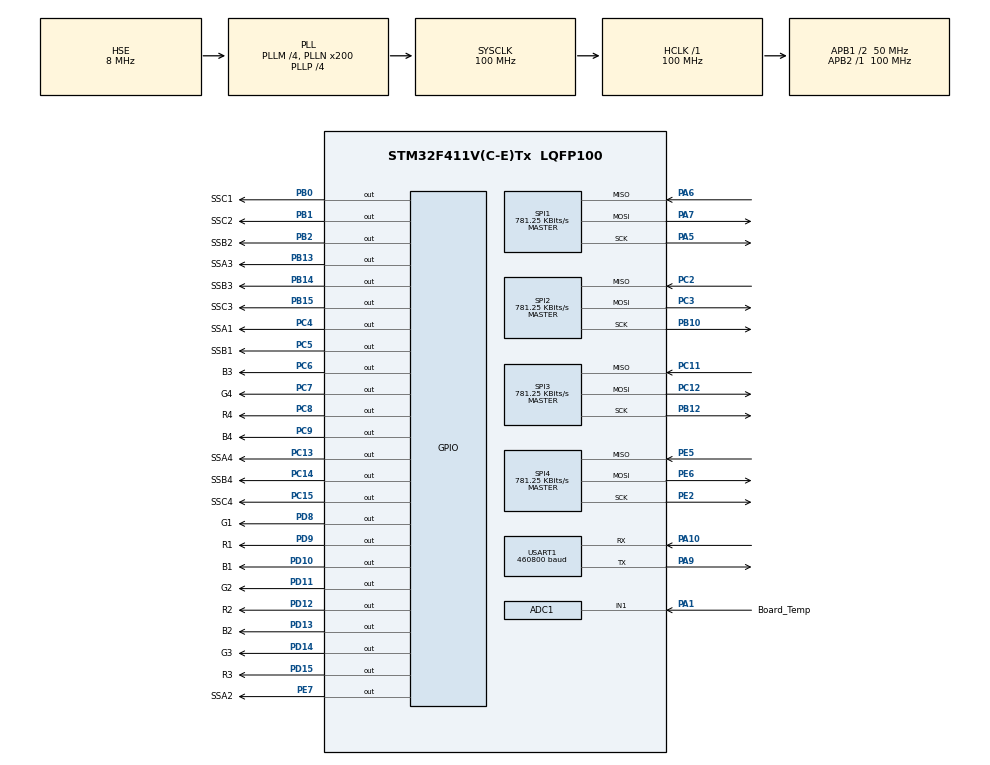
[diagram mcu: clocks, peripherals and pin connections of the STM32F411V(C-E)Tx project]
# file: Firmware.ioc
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ADC1.Channel-0\#ChannelRegularConversion=ADC_CHANNEL_1
ADC1.NbrOfConversionFlag=1
ADC1.Rank-0\#ChannelRegularConversion=1
ADC1.SamplingTime-0\#ChannelRegularConversion=ADC_SAMPLETIME_3CYCLES
ADC1.master=1
FREERTOS.Tasks01=MNMT_task,24,4096,management_task,As external,NULL,Static,MNMT_taskBuffer,MNMT_taskControlBlock;SI_task,8,512,serialInterface_task,As external,NULL,Static,SI_taskBuffer,SI_taskControlBlock;S1_task,40,2048,slot1_task,As external,NULL,Static,S1_taskBuffer,S1_taskControlBlock;S2_task,40,2048,slot2_task,As external,NULL,Static,S2_taskBuffer,S2_taskControlBlock;S3_task,40,2048,slot3_task,As external,NULL,Static,S3_taskBuffer,S3_taskControlBlock;S4_task,40,2048,slot4_task,As external,NULL,Static,S4_taskBuffer,S4_taskControlBlock
FREERTOS.configCHECK_FOR_STACK_OVERFLOW=2
FREERTOS.configENABLE_FPU=1
FREERTOS.configGENERATE_RUN_TIME_STATS=0
FREERTOS.configUSE_IDLE_HOOK=0
FREERTOS.configUSE_STATS_FORMATTING_FUNCTIONS=0
FREERTOS.configUSE_TICK_HOOK=1
FREERTOS.configUSE_TRACE_FACILITY=0
Mcu.Family=STM32F4
Mcu.Name=STM32F411V(C-E)Tx
Mcu.Package=LQFP100
NVIC.PriorityGroup=NVIC_PRIORITYGROUP_4
NVIC.TIM1_UP_TIM10_IRQn=true\:0\:0\:false\:false\:true\:false\:false\:true
NVIC.TimeBase=TIM1_UP_TIM10_IRQn
NVIC.TimeBaseIP=TIM1
NVIC.USART1_IRQn=true\:5\:0\:false\:false\:true\:true\:true\:true
PA1.GPIO_Label=Board_Temp
PA1.Signal=ADCx_IN1
PA10.Mode=Asynchronous
PA10.Signal=USART1_RX
PA13.Mode=Serial_Wire
PA13.Signal=SYS_JTMS-SWDIO
PA14.Mode=Serial_Wire
PA14.Signal=SYS_JTCK-SWCLK
PA5.Mode=Full_Duplex_Master
PA5.Signal=SPI1_SCK
PA6.Mode=Full_Duplex_Master
PA6.Signal=SPI1_MISO
PA7.Mode=Full_Duplex_Master
PA7.Signal=SPI1_MOSI
PA9.Mode=Asynchronous
PA9.Signal=USART1_TX
PB0.GPIO_Label=SSC1
PB0.GPIO_PuPd=GPIO_PULLUP
PB0.PinState=GPIO_PIN_SET
PB0.Signal=GPIO_Output
PB1.GPIO_Label=SSC2
PB1.GPIO_ModeDefaultOutputPP=GPIO_MODE_OUTPUT_PP
PB1.GPIO_PuPd=GPIO_PULLUP
PB1.PinState=GPIO_PIN_SET
PB1.Signal=GPIO_Output
PB10.Mode=Full_Duplex_Master
PB10.Signal=SPI2_SCK
PB12.Mode=Full_Duplex_Master
PB12.Signal=SPI3_SCK
PB13.GPIO_Label=SSA3
PB13.GPIO_ModeDefaultOutputPP=GPIO_MODE_OUTPUT_PP
PB13.GPIO_PuPd=GPIO_PULLUP
PB13.PinState=GPIO_PIN_SET
PB13.Signal=GPIO_Output
PB14.GPIO_Label=SSB3
PB14.GPIO_ModeDefaultOutputPP=GPIO_MODE_OUTPUT_PP
PB14.GPIO_PuPd=GPIO_PULLUP
PB14.PinState=GPIO_PIN_SET
PB14.Signal=GPIO_Output
PB15.GPIO_Label=SSC3
PB15.GPIO_ModeDefaultOutputPP=GPIO_MODE_OUTPUT_PP
PB15.GPIO_PuPd=GPIO_PULLUP
PB15.PinState=GPIO_PIN_SET
PB15.Signal=GPIO_Output
PB2.GPIO_Label=SSB2
PB2.GPIO_ModeDefaultOutputPP=GPIO_MODE_OUTPUT_PP
PB2.GPIO_PuPd=GPIO_PULLUP
PB2.PinState=GPIO_PIN_SET
PB2.Signal=GPIO_Output
PC11.Mode=Full_Duplex_Master
PC11.Signal=SPI3_MISO
PC12.Mode=Full_Duplex_Master
PC12.Signal=SPI3_MOSI
PC13-ANTI_TAMP.GPIO_Label=SSA4
PC13-ANTI_TAMP.GPIO_ModeDefaultOutputPP=GPIO_MODE_OUTPUT_PP
PC13-ANTI_TAMP.GPIO_PuPd=GPIO_PULLUP
PC13-ANTI_TAMP.PinState=GPIO_PIN_SET
PC13-ANTI_TAMP.Signal=GPIO_Output
PC14-OSC32_IN.GPIO_Label=SSB4
PC14-OSC32_IN.GPIO_ModeDefaultOutputPP=GPIO_MODE_OUTPUT_PP
PC14-OSC32_IN.GPIO_PuPd=GPIO_PULLUP
PC14-OSC32_IN.PinState=GPIO_PIN_SET
PC14-OSC32_IN.Signal=GPIO_Output
PC15-OSC32_OUT.GPIO_Label=SSC4
PC15-OSC32_OUT.GPIO_ModeDefaultOutputPP=GPIO_MODE_OUTPUT_PP
PC15-OSC32_OUT.GPIO_PuPd=GPIO_PULLUP
PC15-OSC32_OUT.PinState=GPIO_PIN_SET
PC15-OSC32_OUT.Signal=GPIO_Output
PC2.Mode=Full_Duplex_Master
PC2.Signal=SPI2_MISO
PC3.Mode=Full_Duplex_Master
PC3.Signal=SPI2_MOSI
PC4.GPIO_Label=SSA1
PC4.GPIO_ModeDefaultOutputPP=GPIO_MODE_OUTPUT_PP
PC4.GPIO_PuPd=GPIO_PULLUP
PC4.PinState=GPIO_PIN_SET
PC4.Signal=GPIO_Output
PC5.GPIO_Label=SSB1
PC5.GPIO_ModeDefaultOutputPP=GPIO_MODE_OUTPUT_PP
PC5.GPIO_PuPd=GPIO_PULLUP
PC5.PinState=GPIO_PIN_SET
PC5.Signal=GPIO_Output
PC6.GPIO_Label=B3
PC6.GPIO_ModeDefaultOutputPP=GPIO_MODE_OUTPUT_OD
PC6.PinState=GPIO_PIN_SET
PC6.Signal=GPIO_Output
PC7.GPIO_Label=G4
PC7.GPIO_ModeDefaultOutputPP=GPIO_MODE_OUTPUT_OD
PC7.PinState=GPIO_PIN_SET
PC7.Signal=GPIO_Output
PC8.GPIO_Label=R4
PC8.GPIO_ModeDefaultOutputPP=GPIO_MODE_OUTPUT_OD
PC8.PinState=GPIO_PIN_RESET
PC8.Signal=GPIO_Output
PC9.GPIO_Label=B4
PC9.GPIO_ModeDefaultOutputPP=GPIO_MODE_OUTPUT_OD
PC9.PinState=GPIO_PIN_SET
PC9.Signal=GPIO_Output
PD10.GPIO_Label=B1
PD10.GPIO_ModeDefaultOutputPP=GPIO_MODE_OUTPUT_OD
PD10.PinState=GPIO_PIN_SET
PD10.Signal=GPIO_Output
PD11.GPIO_Label=G2
PD11.GPIO_ModeDefaultOutputPP=GPIO_MODE_OUTPUT_OD
PD11.PinState=GPIO_PIN_SET
PD11.Signal=GPIO_Output
PD12.GPIO_Label=R2
PD12.GPIO_ModeDefaultOutputPP=GPIO_MODE_OUTPUT_OD
PD12.PinState=GPIO_PIN_RESET
PD12.Signal=GPIO_Output
PD13.GPIO_Label=B2
PD13.GPIO_ModeDefaultOutputPP=GPIO_MODE_OUTPUT_OD
PD13.PinState=GPIO_PIN_SET
PD13.Signal=GPIO_Output
PD14.GPIO_Label=G3
PD14.GPIO_ModeDefaultOutputPP=GPIO_MODE_OUTPUT_OD
PD14.PinState=GPIO_PIN_SET
PD14.Signal=GPIO_Output
PD15.GPIO_Label=R3
PD15.GPIO_ModeDefaultOutputPP=GPIO_MODE_OUTPUT_OD
PD15.PinState=GPIO_PIN_RESET
PD15.Signal=GPIO_Output
PD8.GPIO_Label=G1
PD8.GPIO_ModeDefaultOutputPP=GPIO_MODE_OUTPUT_OD
PD8.PinState=GPIO_PIN_SET
PD8.Signal=GPIO_Output
PD9.GPIO_Label=R1
PD9.GPIO_ModeDefaultOutputPP=GPIO_MODE_OUTPUT_OD
PD9.PinState=GPIO_PIN_RESET
PD9.Signal=GPIO_Output
PE2.Mode=Full_Duplex_Master
PE2.Signal=SPI4_SCK
PE5.Mode=Full_Duplex_Master
PE5.Signal=SPI4_MISO
PE6.Mode=Full_Duplex_Master
PE6.Signal=SPI4_MOSI
PE7.GPIO_Label=SSA2
PE7.GPIO_ModeDefaultOutputPP=GPIO_MODE_OUTPUT_PP
PE7.GPIO_PuPd=GPIO_PULLUP
PE7.GPIO_Speed=GPIO_SPEED_FREQ_LOW
PE7.PinState=GPIO_PIN_SET
PE7.Signal=GPIO_Output
PH0\ -\ OSC_IN.Mode=HSE-External-Oscillator
PH0\ -\ OSC_IN.Signal=RCC_OSC_IN
PH1\ -\ OSC_OUT.Mode=HSE-External-Oscillator
PH1\ -\ OSC_OUT.Signal=RCC_OSC_OUT
ProjectManager.HeapSize=0x800
ProjectManager.StackSize=0x1000
ProjectManager.TargetToolchain=SW4STM32
RCC.48MHZClocksFreq_Value=100000000
RCC.AHBFreq_Value=100000000
RCC.APB1CLKDivider=RCC_HCLK_DIV2
RCC.APB1Freq_Value=50000000
RCC.APB1TimFreq_Value=100000000
RCC.APB2Freq_Value=100000000
RCC.APB2TimFreq_Value=100000000
RCC.CortexFreq_Value=100000000
RCC.HCLKFreq_Value=100000000
RCC.HSE_VALUE=8000000
RCC.HSI_VALUE=16000000
RCC.LSE_VALUE=32768
RCC.PLLM=4
RCC.PLLN=200
RCC.PLLP=RCC_PLLP_DIV4
RCC.PLLSourceVirtual=RCC_PLLSOURCE_HSE
RCC.SYSCLKFreq_VALUE=100000000
RCC.SYSCLKSource=RCC_SYSCLKSOURCE_PLLCLK
RCC.VCOOutputFreq_Value=400000000
SH.ADCx_IN1.0=ADC1_IN1,IN1
SPI1.BaudRatePrescaler=SPI_BAUDRATEPRESCALER_128
SPI1.CalculateBaudRate=781.25 KBits/s
SPI1.Direction=SPI_DIRECTION_2LINES
SPI1.Mode=SPI_MODE_MASTER
SPI1.VirtualType=VM_MASTER
SPI2.BaudRatePrescaler=SPI_BAUDRATEPRESCALER_64
SPI2.CalculateBaudRate=781.25 KBits/s
SPI2.Direction=SPI_DIRECTION_2LINES
SPI2.Mode=SPI_MODE_MASTER
SPI2.VirtualType=VM_MASTER
SPI3.BaudRatePrescaler=SPI_BAUDRATEPRESCALER_64
SPI3.CalculateBaudRate=781.25 KBits/s
SPI3.Direction=SPI_DIRECTION_2LINES
SPI3.Mode=SPI_MODE_MASTER
SPI3.VirtualType=VM_MASTER
SPI4.BaudRatePrescaler=SPI_BAUDRATEPRESCALER_128
SPI4.CalculateBaudRate=781.25 KBits/s
SPI4.Direction=SPI_DIRECTION_2LINES
SPI4.Mode=SPI_MODE_MASTER
SPI4.VirtualType=VM_MASTER
USART1.BaudRate=460800
USART1.VirtualMode=VM_ASYNC
VP_CRC_VS_CRC.Mode=CRC_Activate
VP_FREERTOS_VS_CMSIS_V2.Mode=CMSIS_V2
VP_SYS_VS_tim1.Mode=TIM1
board=custom

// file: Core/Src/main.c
/* USER CODE BEGIN Header */
/**
  ******************************************************************************
  * @file           : main.c
  * @brief          : Main program body
  ******************************************************************************
  * @attention
  *
  * <h2><center>&copy; Copyright (c) 2020 STMicroelectronics.
  * All rights reserved.</center></h2>
  *
  * This software component is licensed by ST under Ultimate Liberty license
  * SLA0044, the "License"; You may not use this file except in compliance with
  * the License. You may obtain a copy of the License at:
  *                             www.st.com/SLA0044
  *
  ******************************************************************************
  */
/* USER CODE END Header */

#include "main.h"
#include "cmsis_os.h"
#include "adc.h"
#include "crc.h"
#include "spi.h"
#include "usart.h"
#include "gpio.h"

/* USER CODE BEGIN Includes */
#include "debug.h"
#include "printf.h"
/* USER CODE END Includes */

void SystemClock_Config(void);
void MX_FREERTOS_Init(void);

int main(void)
{

  /* MCU Configuration--------------------------------------------------------*/

  /* Reset of all peripherals, Initializes the Flash interface and the Systick. */
  HAL_Init();

  /* Configure the system clock */
  SystemClock_Config();

  /* Initialize all configured peripherals */
  MX_GPIO_Init();
  MX_ADC1_Init();
  MX_SPI1_Init();
  MX_SPI2_Init();
  MX_SPI3_Init();
  MX_SPI4_Init();
  MX_USART1_UART_Init();
  MX_CRC_Init();
  /* USER CODE BEGIN 2 */
  debug_init();
  debug_sendf(LEVEL_INFO, "System Starting");
  /* MAIN OPERATIONAL CODE CAN BE FOUND IN /App, through RTOS tasks in Slots and Management */

  /* USER CODE END 2 */

  /* Init scheduler */
  osKernelInitialize();  /* Call init function for freertos objects (in freertos.c) */
  MX_FREERTOS_Init();
  /* Start scheduler */
  osKernelStart();

  /* We should never get here as control is now taken by the scheduler */
  /* Infinite loop */
  /* USER CODE BEGIN WHILE */
#pragma clang diagnostic push
#pragma ide diagnostic ignored "EndlessLoop"
  while (1)
  {
    /* USER CODE END WHILE */

    /* USER CODE BEGIN 3 */
  }
#pragma clang diagnostic pop
  /* USER CODE END 3 */
}

void SystemClock_Config(void)
{
  RCC_OscInitTypeDef RCC_OscInitStruct = {0};
  RCC_ClkInitTypeDef RCC_ClkInitStruct = {0};

  /** Configure the main internal regulator output voltage
  */
  __HAL_RCC_PWR_CLK_ENABLE();
  __HAL_PWR_VOLTAGESCALING_CONFIG(PWR_REGULATOR_VOLTAGE_SCALE1);
  /** Initializes the CPU, AHB and APB busses clocks
  */
  RCC_OscInitStruct.OscillatorType = RCC_OSCILLATORTYPE_HSE;
  RCC_OscInitStruct.HSEState = RCC_HSE_ON;
  RCC_OscInitStruct.PLL.PLLState = RCC_PLL_ON;
  RCC_OscInitStruct.PLL.PLLSource = RCC_PLLSOURCE_HSE;
  RCC_OscInitStruct.PLL.PLLM = 4;
  RCC_OscInitStruct.PLL.PLLN = 200;
  RCC_OscInitStruct.PLL.PLLP = RCC_PLLP_DIV4;
  RCC_OscInitStruct.PLL.PLLQ = 4;
  if (HAL_RCC_OscConfig(&RCC_OscInitStruct) != HAL_OK)
  {
    Error_Handler();
  }
  /** Initializes the CPU, AHB and APB busses clocks
  */
  RCC_ClkInitStruct.ClockType = RCC_CLOCKTYPE_HCLK|RCC_CLOCKTYPE_SYSCLK
                              |RCC_CLOCKTYPE_PCLK1|RCC_CLOCKTYPE_PCLK2;
  RCC_ClkInitStruct.SYSCLKSource = RCC_SYSCLKSOURCE_PLLCLK;
  RCC_ClkInitStruct.AHBCLKDivider = RCC_SYSCLK_DIV1;
  RCC_ClkInitStruct.APB1CLKDivider = RCC_HCLK_DIV2;
  RCC_ClkInitStruct.APB2CLKDivider = RCC_HCLK_DIV1;

  if (HAL_RCC_ClockConfig(&RCC_ClkInitStruct, FLASH_LATENCY_3) != HAL_OK)
  {
    Error_Handler();
  }
}

 /**
  * @brief  Period elapsed callback in non blocking mode
  * @note   This function is called  when TIM1 interrupt took place, inside
  * HAL_TIM_IRQHandler(). It makes a direct call to HAL_IncTick() to increment
  * a global variable "uwTick" used as application time base.
  * @param  htim : TIM handle
  * @retval None
  */
void HAL_TIM_PeriodElapsedCallback(TIM_HandleTypeDef *htim)
{
  if (htim->Instance == TIM1) {
    HAL_IncTick();
  }
}

void Error_Handler(void)
{
}

/************************ (C) COPYRIGHT STMicroelectronics *****END OF FILE****/

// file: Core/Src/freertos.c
/* USER CODE BEGIN Header */
/**
  ******************************************************************************
  * File Name          : freertos.c
  * Description        : Code for freertos applications
  ******************************************************************************
  * @attention
  *
  * <h2><center>&copy; Copyright (c) 2020 STMicroelectronics.
  * All rights reserved.</center></h2>
  *
  * This software component is licensed by ST under Ultimate Liberty license
  * SLA0044, the "License"; You may not use this file except in compliance with
  * the License. You may obtain a copy of the License at:
  *                             www.st.com/SLA0044
  *
  ******************************************************************************
  */
/* USER CODE END Header */

#include "FreeRTOS.h"
#include "task.h"
#include "main.h"
#include "cmsis_os.h"

/* USER CODE BEGIN Includes */
#include "serialInterface.h"
#include "printf.h"
/* USER CODE END Includes */

typedef StaticTask_t osStaticThreadDef_t;

/* USER CODE BEGIN PM */
#ifndef MIN
#define MIN(a,b) ((a) < (b) ? (a) : (b))
#endif
#ifndef MAX
#define MAX(a,b) ((a) > (b) ? (a) : (b))
#endif
/* USER CODE END PM */

/* Definitions for MNMT_task */
osThreadId_t MNMT_taskHandle;
uint32_t MNMT_taskBuffer[ 4096 ];
osStaticThreadDef_t MNMT_taskControlBlock;
const osThreadAttr_t MNMT_task_attributes = {
  .name = "MNMT_task",
  .stack_mem = &MNMT_taskBuffer[0],
  .stack_size = sizeof(MNMT_taskBuffer),
  .cb_mem = &MNMT_taskControlBlock,
  .cb_size = sizeof(MNMT_taskControlBlock),
  .priority = (osPriority_t) osPriorityNormal,
};
/* Definitions for SI_task */
osThreadId_t SI_taskHandle;
uint32_t SI_taskBuffer[ 512 ];
osStaticThreadDef_t SI_taskControlBlock;
const osThreadAttr_t SI_task_attributes = {
  .name = "SI_task",
  .stack_mem = &SI_taskBuffer[0],
  .stack_size = sizeof(SI_taskBuffer),
  .cb_mem = &SI_taskControlBlock,
  .cb_size = sizeof(SI_taskControlBlock),
  .priority = (osPriority_t) osPriorityLow,
};
/* Definitions for S1_task */
osThreadId_t S1_taskHandle;
uint32_t S1_taskBuffer[ 2048 ];
osStaticThreadDef_t S1_taskControlBlock;
const osThreadAttr_t S1_task_attributes = {
  .name = "S1_task",
  .stack_mem = &S1_taskBuffer[0],
  .stack_size = sizeof(S1_taskBuffer),
  .cb_mem = &S1_taskControlBlock,
  .cb_size = sizeof(S1_taskControlBlock),
  .priority = (osPriority_t) osPriorityHigh,
};
/* Definitions for S2_task */
osThreadId_t S2_taskHandle;
uint32_t S2_taskBuffer[ 2048 ];
osStaticThreadDef_t S2_taskControlBlock;
const osThreadAttr_t S2_task_attributes = {
  .name = "S2_task",
  .stack_mem = &S2_taskBuffer[0],
  .stack_size = sizeof(S2_taskBuffer),
  .cb_mem = &S2_taskControlBlock,
  .cb_size = sizeof(S2_taskControlBlock),
  .priority = (osPriority_t) osPriorityHigh,
};
/* Definitions for S3_task */
osThreadId_t S3_taskHandle;
uint32_t S3_taskBuffer[ 2048 ];
osStaticThreadDef_t S3_taskControlBlock;
const osThreadAttr_t S3_task_attributes = {
  .name = "S3_task",
  .stack_mem = &S3_taskBuffer[0],
  .stack_size = sizeof(S3_taskBuffer),
  .cb_mem = &S3_taskControlBlock,
  .cb_size = sizeof(S3_taskControlBlock),
  .priority = (osPriority_t) osPriorityHigh,
};
/* Definitions for S4_task */
osThreadId_t S4_taskHandle;
uint32_t S4_taskBuffer[ 2048 ];
osStaticThreadDef_t S4_taskControlBlock;
const osThreadAttr_t S4_task_attributes = {
  .name = "S4_task",
  .stack_mem = &S4_taskBuffer[0],
  .stack_size = sizeof(S4_taskBuffer),
  .cb_mem = &S4_taskControlBlock,
  .cb_size = sizeof(S4_taskControlBlock),
  .priority = (osPriority_t) osPriorityHigh,
};

extern void management_task(void *argument);
extern void serialInterface_task(void *argument);
extern void slot1_task(void *argument);
extern void slot2_task(void *argument);
extern void slot3_task(void *argument);
extern void slot4_task(void *argument);

void MX_FREERTOS_Init(void); /* (MISRA C 2004 rule 8.1) */

/* Hook prototypes */
void vApplicationTickHook(void);
void vApplicationStackOverflowHook(xTaskHandle xTask, signed char *pcTaskName);

/* USER CODE BEGIN 3 */
__weak void vApplicationTickHook( void )
{
   /* This function will be called by each tick interrupt if
   configUSE_TICK_HOOK is set to 1 in FreeRTOSConfig.h. User code can be
   added here, but the tick hook is called from an interrupt context, so
   code must not attempt to block, and only the interrupt safe FreeRTOS API
   functions can be used (those that end in FromISR()). */
}
/* USER CODE END 3 */

void MX_FREERTOS_Init(void) {

  /* Create the thread(s) */
  /* creation of MNMT_task */
  MNMT_taskHandle = osThreadNew(management_task, NULL, &MNMT_task_attributes);

  /* creation of SI_task */
  SI_taskHandle = osThreadNew(serialInterface_task, NULL, &SI_task_attributes);

  /* creation of S1_task */
  S1_taskHandle = osThreadNew(slot1_task, NULL, &S1_task_attributes);

  /* creation of S2_task */
  S2_taskHandle = osThreadNew(slot2_task, NULL, &S2_task_attributes);

  /* creation of S3_task */
  S3_taskHandle = osThreadNew(slot3_task, NULL, &S3_task_attributes);

  /* creation of S4_task */
  S4_taskHandle = osThreadNew(slot4_task, NULL, &S4_task_attributes);

}

__weak void management_task(void *argument)
{
  for(;;)
  {
    osDelay(1);
  }
}

/************************ (C) COPYRIGHT STMicroelectronics *****END OF FILE****/
